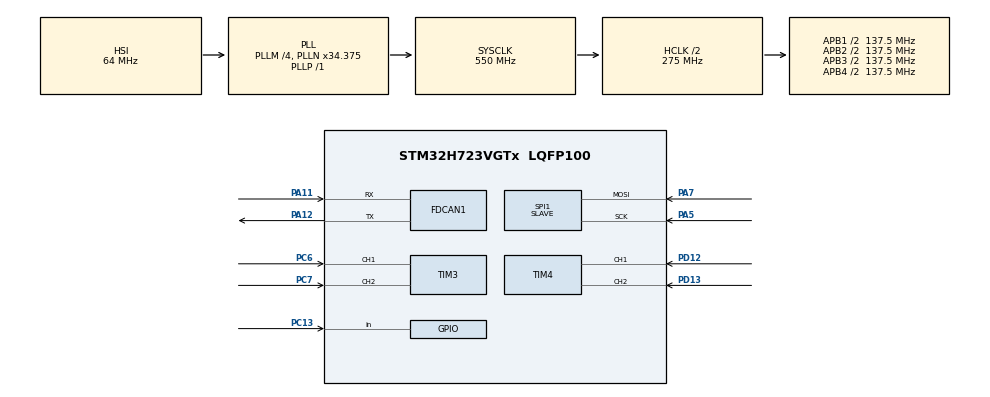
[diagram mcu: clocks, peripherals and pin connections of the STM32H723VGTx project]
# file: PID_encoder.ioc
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CORTEX_M7.default_mode_Activation=1
FDCAN1.CalculateBaudRateNominal=1000000
FDCAN1.CalculateTimeBitNominal=1000
FDCAN1.CalculateTimeQuantumNominal=250.0
FDCAN1.NominalPrescaler=5
FDCAN1.NominalTimeSeg1=1
FDCAN1.NominalTimeSeg2=2
FDCAN1.TransmitPause=ENABLE
FDCAN1.TxFifoQueueElmtsNbr=1
Mcu.Family=STM32H7
Mcu.Name=STM32H723VGTx
Mcu.Package=LQFP100
NVIC.FDCAN1_IT0_IRQn=true\:0\:0\:false\:false\:true\:true\:true\:true
NVIC.PriorityGroup=NVIC_PRIORITYGROUP_4
NVIC.SPI1_IRQn=true\:0\:0\:false\:false\:true\:true\:true\:true
NVIC.TIM7_IRQn=true\:0\:0\:false\:false\:true\:true\:true\:true
NVIC.TIM8_BRK_TIM12_IRQn=true\:0\:0\:false\:false\:true\:true\:true\:true
NVIC.TIM8_CC_IRQn=true\:0\:0\:false\:false\:true\:true\:true\:true
NVIC.TIM8_TRG_COM_TIM14_IRQn=true\:0\:0\:false\:false\:true\:true\:true\:true
NVIC.TIM8_UP_TIM13_IRQn=true\:0\:0\:false\:false\:true\:true\:true\:true
PA11.Mode=FDCAN_Activate
PA11.Signal=FDCAN1_RX
PA12.Mode=FDCAN_Activate
PA12.Signal=FDCAN1_TX
PA5.Mode=RX_Only_Simplex_Unidirect_Slave
PA5.Signal=SPI1_SCK
PA7.Mode=RX_Only_Simplex_Unidirect_Slave
PA7.Signal=SPI1_MOSI
PC13.Signal=GPIO_Input
PC6.Signal=S_TIM3_CH1
PC7.Signal=S_TIM3_CH2
PD12.Signal=S_TIM4_CH1
PD13.Signal=S_TIM4_CH2
PH0-OSC_IN.Mode=HSE-External-Oscillator
PH0-OSC_IN.Signal=RCC_OSC_IN
PH1-OSC_OUT.Mode=HSE-External-Oscillator
PH1-OSC_OUT.Signal=RCC_OSC_OUT
ProjectManager.HeapSize=0x200
ProjectManager.StackSize=0x400
ProjectManager.TargetToolchain=STM32CubeIDE
RCC.ADCFreq_Value=129000000
RCC.APB1Freq_Value=137500000
RCC.APB2Freq_Value=137500000
RCC.APB3Freq_Value=137500000
RCC.APB4Freq_Value=137500000
RCC.CortexFreq_Value=550000000
RCC.D1PPRE=RCC_APB3_DIV2
RCC.D2PPRE1=RCC_APB1_DIV2
RCC.D2PPRE2=RCC_APB2_DIV2
RCC.D3PPRE=RCC_APB4_DIV2
RCC.DIVM1=4
RCC.DIVN1=34
RCC.DIVP1=1
RCC.DIVQ1=4
RCC.FDCANCLockSelection=RCC_FDCANCLKSOURCE_HSE
RCC.HCLKFreq_Value=275000000
RCC.HPRE=RCC_HCLK_DIV2
RCC.HSE_VALUE=20000000
RCC.PLL2FRACN=0
RCC.PLL3FRACN=0
RCC.PLLFRACN=3072
RCC.SYSCLKFreq_VALUE=550000000
RCC.SYSCLKSource=RCC_SYSCLKSOURCE_PLLCLK
RCC.USBFreq_Value=137500000
SH.S_TIM3_CH1.0=TIM3_CH1,Encoder_Interface
SH.S_TIM3_CH2.0=TIM3_CH2,Encoder_Interface
SH.S_TIM4_CH1.0=TIM4_CH1,Encoder_Interface
SH.S_TIM4_CH2.0=TIM4_CH2,Encoder_Interface
SPI1.DataSize=SPI_DATASIZE_8BIT
SPI1.Direction=SPI_DIRECTION_2LINES_RXONLY
SPI1.Mode=SPI_MODE_SLAVE
SPI1.VirtualType=VM_SLAVE
TIM3.EncoderMode=TIM_ENCODERMODE_TI12
TIM4.EncoderMode=TIM_ENCODERMODE_TI12
TIM7.Period=5000-1
TIM7.Prescaler=550-1
TIM8.Period=5000-1
TIM8.Prescaler=550-1
VP_MEMORYMAP_VS_MEMORYMAP.Mode=CurAppReg
VP_TIM7_VS_ClockSourceINT.Mode=Enable_Timer
VP_TIM8_VS_ClockSourceINT.Mode=Internal
board=custom

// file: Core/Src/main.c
/* USER CODE BEGIN Header */
/**
  ******************************************************************************
  * @file           : main.c
  * @brief          : Main program body
  ******************************************************************************
  * @attention
  *
  * Copyright (c) 2025 STMicroelectronics.
  * All rights reserved.
  *
  * This software is licensed under terms that can be found in the LICENSE file
  * in the root directory of this software component.
  * If no LICENSE file comes with this software, it is provided AS-IS.
  *
  ******************************************************************************
  */
/* USER CODE END Header */
#include "main.h"

/* USER CODE BEGIN Includes */
#include "math.h"
#include "kinematic.h"
#include "string.h"
#include "x5_lite.h"
#include <stdlib.h>
/* USER CODE END Includes */

/* USER CODE BEGIN PTD */
//
typedef struct{
	int8_t FL;
	int8_t FR;
	int8_t RL;
	int8_t RR;
}Dwheel;
//robot pose
typedef struct{
	float x;
	float y;
	float theta;
}target_t;
target_t target;
//PID class
typedef struct {
  float kp;
  float ki;
  float kd;
  float prev_err;
  float integral;
  float out_limit;
} PID_t;

float ex,ey,eth;
int8_t rx ,ry,lx,ly;

/* USER CODE END PTD */

/* USER CODE BEGIN PD */

//redus of odom wheel
#define WHEEL 70
/* USER CODE END PD */

/* USER CODE BEGIN PM */
OMNIWHEEL omni;
CONTROLLER controller;

float wheel_speed[4]={0};
float wheel_speedT[4]={0};
float vx =0.0f, vy=0.0f, omega=0.0f;
float x =0.0f, y =0.0f, theta =0.0f;

float kp_x = 0.0f,kp_y=0.0f,ki_x=0.0f,ki_y=0.0f,kd_x=0.0f,kd_y=0.0f;
FDCAN_TxHeaderTypeDef txHeader;
int8_t can_tx[8]={0};
uint8_t button =0;

float vx_js=0,vy_js =0, w_js=0;
int8_t  a= 0, B=0, c=0;

/* USER CODE END PM */

FDCAN_HandleTypeDef hfdcan1;

SPI_HandleTypeDef hspi1;

TIM_HandleTypeDef htim3;
TIM_HandleTypeDef htim4;
TIM_HandleTypeDef htim7;
TIM_HandleTypeDef htim8;

/* USER CODE BEGIN PV */

volatile uint16_t theta16X=0,theta16_1X=0;
volatile int theta32bitX=0,theta32bit_1X=0;
volatile uint16_t theta16Y=0,theta16_1Y=0;
volatile int theta32bitY=0,theta32bit_1Y=0;
volatile int pulseX=0, pulseY=0;
float distantX=0.0f, distant_per1CX=0.0f;
float wheelCircuim = 0.0f;
float distantY=0.0f, distant_per1CY=0.0f;
int countSPI =0;
/* USER CODE END PV */

void SystemClock_Config(void);
static void MPU_Config(void);
static void MX_GPIO_Init(void);
static void MX_FDCAN1_Init(void);
static void MX_TIM3_Init(void);
static void MX_TIM4_Init(void);
static void MX_TIM7_Init(void);
static void MX_TIM8_Init(void);
static void MX_SPI1_Init(void);

/* USER CODE BEGIN 0 */
void HAL_SPI_RxCpltCallback(SPI_HandleTypeDef *hspi)
{
    X5_SPI_RxCpltCallback(hspi);
    countSPI++;
}

void convertTo32bitX() {
  theta16X = TIM4->CNT;  // Read current 16-bit timer value
  int32_t DeltaX = (int16_t)(theta16X - theta16_1X);  // Handle wrap-around correctly
  if (DeltaX > 30000) {  // Overflow detected
      theta32bitX += 65536;
    }
    else if (DeltaX < -30000) {  // Underflow detected
    theta32bitX -= 65536;
    }
  // Update 32-bit position
  theta32bitX += DeltaX;
  theta16_1X = theta16X;  // Store previous value for next iteration
  wheelCircuim = WHEEL * M_PI;
  pulseX = theta32bitX/4;
  distant_per1CX = wheelCircuim/(360);// 0.1527163095    1440/0.219453335
  distantX = -(pulseX) * (distant_per1CX * 0.001);
  //errorX_per=(errorX/DESIRED)*100;
  //0.0001527163
  }

void convertTo32bitY() {
  theta16Y = TIM3->CNT;  // Read current 16-bit timer value
  int32_t DeltaY = (int16_t)(theta16Y - theta16_1Y);  // Handle wrap-around correctly
  if (DeltaY > 30000) {  // Overflow detected
      theta32bitY += 65536;
    }
    else if (DeltaY < -30000) {  // Underflow detected
    theta32bitY -= 65536;
    }
  // Update 32-bit position
  theta32bitY += DeltaY;
  theta16_1Y = theta16Y;  // Store previous value for next iteration
  pulseY = theta32bitY/4;
  distant_per1CY = wheelCircuim/(360);
  distantY = (pulseY) * (distant_per1CY * 0.001);
  //errorY_per=(errorY/DESIRED)*100;
}
float PID_Update( float kp,float ki ,float kd,float err, float dt)
{
  float integral=0.0f;
  integral += err * dt;
  // Anti-windup
  if (integral > 2.0f)  integral = 2.0f;
  if (integral < -2.0f) integral = -2.0f;

  float prev_err =0.0f;

  float derivative =0.0f;
  derivative = (err - prev_err) / dt;
  prev_err    = err;

  float out = kp * err
            + ki * integral
            + kd * derivative;
  // Output limit
  if (out > 2.0f)  out = 2.0f;
  if (out < -2.0f) out = -2.0f;

  return out;
}
void update_odom(){
	convertTo32bitX();
	convertTo32bitY();
}
void control(float *vx, float *vy, float *omega){
	 ex = target.x -  distantX;
	 ey = target.y - distantY ;

	float dt = 0.05f;
	if(abs(ex)< 0.001) ex =0.0;
	if(abs(ey)< 0.001) ey =0.0;
	*vx    = PID_Update( kp_x,ki_x,kd_x,ex, dt);
	*vy    = PID_Update( kp_y,ki_y,kd_y,ey, dt);

    if (*vx > 1.5f) *vx = 1.5f;
    if (*vy > 1.5f) *vy = 1.5f;

}
void can_data_send(void){
	Dwheel can ={
		.FL =(int8_t)(wheel_speedT[0]/6),
		.RL =(int8_t)(wheel_speedT[1]/6),
		.FR =(int8_t)(wheel_speedT[2]/6),
		.RR =(int8_t)(wheel_speedT[3]/6),
	};
	memcpy(can_tx, &can, sizeof(Dwheel));
	txHeader.Identifier = 0x001;
	txHeader.IdType = FDCAN_STANDARD_ID;
	txHeader.TxFrameType = FDCAN_DATA_FRAME;
	txHeader.DataLength = FDCAN_DLC_BYTES_8;
	txHeader.ErrorStateIndicator = FDCAN_ESI_ACTIVE;
	txHeader.BitRateSwitch = FDCAN_BRS_OFF;  // TJA1050
	txHeader.FDFormat = FDCAN_CLASSIC_CAN;
	txHeader.TxEventFifoControl = FDCAN_NO_TX_EVENTS;
	txHeader.MessageMarker = 0;
	HAL_FDCAN_AddMessageToTxFifoQ(&hfdcan1, &txHeader, can_tx);}
void HAL_TIM_PeriodElapsedCallback(TIM_HandleTypeDef *htim)
{
	if (htim->Instance == TIM7)
	{
	 //control(&vx ,&vy, &omega);
     X5_Joy(&rx,&ry,&lx,&ly);

		 a = (lx);
		 B = (ly );
		 c = -(rx );

		 if (countSPI >0){

		 vx_js =a/50.f;
		 vy_js =B/50.0f;
		 w_js = c /50.0f;
 		float alpha =0.0f;
		controller.vx    = alpha * vx + (1.0f - alpha) * vx_js;
		controller.vy    = alpha * vy + (1.0f - alpha) * vy_js;
		controller.omega = alpha * omega  + (1.0f - alpha) * w_js;

		omni45_kinematic(&controller , &omni,wheel_speedT);
		can_data_send();
	}}
	if(htim->Instance == TIM8){
     	update_odom();
     	X5_UpdateButtons();

     	if (Meihua.start_b){
     		//state1
     	target_t Dise_pose={
     		  	.x = 0,
     		  	.y =0,
     		  	.theta =0
     		  };
     		  	target = Dise_pose;
     	}
     	else if(Meihua.retry_b){
     		//state2

     	}
     	else if(Meihua.b0){
     		//state3
     	}
     	else if(Meihua.b1){
     		//
     	}
     	else if(Meihua.b2){
     	     //state3
       	}
     	else if(Meihua.b3){

     	}
     	else if(Meihua.b4){
     	     //state3
     	}
     	else if(Meihua.b5){

     	}
     	else if(Meihua.b6){
     	     //state3
     	}
     	else if(Meihua.b7){

     	}
     	else if(Meihua.b8){
     	     //state3
     	}
     	else if(Meihua.b9){

     	}
     	else if(Meihua.b10){
     	     //state3
     	}
     	else if(Meihua.b11){

     	}
     	else if(x5_button.a){

     	}
     	else{

     	}

	}
}

/* USER CODE END 0 */

int main(void)
{

  /* MPU Configuration--------------------------------------------------------*/

	MPU_Config();

  /* MCU Configuration--------------------------------------------------------*/

  /* Reset of all peripherals, Initializes the Flash interface and the Systick. */
  HAL_Init();

  /* Configure the system clock */
  SystemClock_Config();

  /* Initialize all configured peripherals */
  MX_GPIO_Init();
  MX_FDCAN1_Init();
  MX_TIM3_Init();
  MX_TIM4_Init();
  MX_TIM7_Init();
  MX_TIM8_Init();
  MX_SPI1_Init();
  /* USER CODE BEGIN 2 */
  omni_init(&omni);
  X5_Init(&hspi1);
  HAL_FDCAN_Start(&hfdcan1);

  HAL_TIM_Encoder_Start(&htim3, TIM_CHANNEL_ALL);
  HAL_TIM_Encoder_Start(&htim4, TIM_CHANNEL_ALL);
  HAL_TIM_Base_Start_IT(&htim7);
  HAL_TIM_Base_Start_IT(&htim8);

  /* USER CODE END 2 */

  /* Infinite loop */
  while (1)
  {

  }
}

void SystemClock_Config(void)
{
  RCC_OscInitTypeDef RCC_OscInitStruct = {0};
  RCC_ClkInitTypeDef RCC_ClkInitStruct = {0};

  /** Supply configuration update enable
  */
  HAL_PWREx_ConfigSupply(PWR_LDO_SUPPLY);

  /** Configure the main internal regulator output voltage
  */
  __HAL_PWR_VOLTAGESCALING_CONFIG(PWR_REGULATOR_VOLTAGE_SCALE0);

  while(!__HAL_PWR_GET_FLAG(PWR_FLAG_VOSRDY)) {}

  /** Initializes the RCC Oscillators according to the specified parameters
  * in the RCC_OscInitTypeDef structure.
  */
  RCC_OscInitStruct.OscillatorType = RCC_OSCILLATORTYPE_HSI|RCC_OSCILLATORTYPE_HSE;
  RCC_OscInitStruct.HSEState = RCC_HSE_ON;
  RCC_OscInitStruct.HSIState = RCC_HSI_DIV1;
  RCC_OscInitStruct.HSICalibrationValue = 64;
  RCC_OscInitStruct.PLL.PLLState = RCC_PLL_ON;
  RCC_OscInitStruct.PLL.PLLSource = RCC_PLLSOURCE_HSI;
  RCC_OscInitStruct.PLL.PLLM = 4;
  RCC_OscInitStruct.PLL.PLLN = 34;
  RCC_OscInitStruct.PLL.PLLP = 1;
  RCC_OscInitStruct.PLL.PLLQ = 4;
  RCC_OscInitStruct.PLL.PLLR = 2;
  RCC_OscInitStruct.PLL.PLLRGE = RCC_PLL1VCIRANGE_3;
  RCC_OscInitStruct.PLL.PLLVCOSEL = RCC_PLL1VCOWIDE;
  RCC_OscInitStruct.PLL.PLLFRACN = 3072;
  if (HAL_RCC_OscConfig(&RCC_OscInitStruct) != HAL_OK)
  {
    Error_Handler();
  }

  /** Initializes the CPU, AHB and APB buses clocks
  */
  RCC_ClkInitStruct.ClockType = RCC_CLOCKTYPE_HCLK|RCC_CLOCKTYPE_SYSCLK
                              |RCC_CLOCKTYPE_PCLK1|RCC_CLOCKTYPE_PCLK2
                              |RCC_CLOCKTYPE_D3PCLK1|RCC_CLOCKTYPE_D1PCLK1;
  RCC_ClkInitStruct.SYSCLKSource = RCC_SYSCLKSOURCE_PLLCLK;
  RCC_ClkInitStruct.SYSCLKDivider = RCC_SYSCLK_DIV1;
  RCC_ClkInitStruct.AHBCLKDivider = RCC_HCLK_DIV2;
  RCC_ClkInitStruct.APB3CLKDivider = RCC_APB3_DIV2;
  RCC_ClkInitStruct.APB1CLKDivider = RCC_APB1_DIV2;
  RCC_ClkInitStruct.APB2CLKDivider = RCC_APB2_DIV2;
  RCC_ClkInitStruct.APB4CLKDivider = RCC_APB4_DIV2;

  if (HAL_RCC_ClockConfig(&RCC_ClkInitStruct, FLASH_LATENCY_3) != HAL_OK)
  {
    Error_Handler();
  }
}

static void MX_FDCAN1_Init(void)
{

  hfdcan1.Instance = FDCAN1;
  hfdcan1.Init.FrameFormat = FDCAN_FRAME_CLASSIC;
  hfdcan1.Init.Mode = FDCAN_MODE_NORMAL;
  hfdcan1.Init.AutoRetransmission = DISABLE;
  hfdcan1.Init.TransmitPause = ENABLE;
  hfdcan1.Init.ProtocolException = DISABLE;
  hfdcan1.Init.NominalPrescaler = 5;
  hfdcan1.Init.NominalSyncJumpWidth = 1;
  hfdcan1.Init.NominalTimeSeg1 = 1;
  hfdcan1.Init.NominalTimeSeg2 = 2;
  hfdcan1.Init.DataPrescaler = 1;
  hfdcan1.Init.DataSyncJumpWidth = 1;
  hfdcan1.Init.DataTimeSeg1 = 1;
  hfdcan1.Init.DataTimeSeg2 = 1;
  hfdcan1.Init.MessageRAMOffset = 0;
  hfdcan1.Init.StdFiltersNbr = 0;
  hfdcan1.Init.ExtFiltersNbr = 0;
  hfdcan1.Init.RxFifo0ElmtsNbr = 0;
  hfdcan1.Init.RxFifo0ElmtSize = FDCAN_DATA_BYTES_8;
  hfdcan1.Init.RxFifo1ElmtsNbr = 0;
  hfdcan1.Init.RxFifo1ElmtSize = FDCAN_DATA_BYTES_8;
  hfdcan1.Init.RxBuffersNbr = 0;
  hfdcan1.Init.RxBufferSize = FDCAN_DATA_BYTES_8;
  hfdcan1.Init.TxEventsNbr = 0;
  hfdcan1.Init.TxBuffersNbr = 0;
  hfdcan1.Init.TxFifoQueueElmtsNbr = 1;
  hfdcan1.Init.TxFifoQueueMode = FDCAN_TX_FIFO_OPERATION;
  hfdcan1.Init.TxElmtSize = FDCAN_DATA_BYTES_8;
  if (HAL_FDCAN_Init(&hfdcan1) != HAL_OK)
  {
    Error_Handler();
  }
  /* USER CODE BEGIN FDCAN1_Init 2 */
  // Accept-all filter
      FDCAN_FilterTypeDef filter;
      filter.IdType = FDCAN_STANDARD_ID;
      filter.FilterIndex = 0;
      filter.FilterType = FDCAN_FILTER_MASK;
      filter.FilterConfig = FDCAN_FILTER_TO_RXFIFO0;
      filter.FilterID1 = 0x000;
      filter.FilterID2 = 0x000;
      HAL_FDCAN_ConfigFilter(&hfdcan1, &filter);

  /* USER CODE END FDCAN1_Init 2 */

}

static void MX_SPI1_Init(void)
{

  /* SPI1 parameter configuration*/
  hspi1.Instance = SPI1;
  hspi1.Init.Mode = SPI_MODE_SLAVE;
  hspi1.Init.Direction = SPI_DIRECTION_2LINES_RXONLY;
  hspi1.Init.DataSize = SPI_DATASIZE_8BIT;
  hspi1.Init.CLKPolarity = SPI_POLARITY_LOW;
  hspi1.Init.CLKPhase = SPI_PHASE_1EDGE;
  hspi1.Init.NSS = SPI_NSS_SOFT;
  hspi1.Init.FirstBit = SPI_FIRSTBIT_MSB;
  hspi1.Init.TIMode = SPI_TIMODE_DISABLE;
  hspi1.Init.CRCCalculation = SPI_CRCCALCULATION_DISABLE;
  hspi1.Init.CRCPolynomial = 0x0;
  hspi1.Init.NSSPMode = SPI_NSS_PULSE_DISABLE;
  hspi1.Init.NSSPolarity = SPI_NSS_POLARITY_LOW;
  hspi1.Init.FifoThreshold = SPI_FIFO_THRESHOLD_01DATA;
  hspi1.Init.TxCRCInitializationPattern = SPI_CRC_INITIALIZATION_ALL_ZERO_PATTERN;
  hspi1.Init.RxCRCInitializationPattern = SPI_CRC_INITIALIZATION_ALL_ZERO_PATTERN;
  hspi1.Init.MasterSSIdleness = SPI_MASTER_SS_IDLENESS_00CYCLE;
  hspi1.Init.MasterInterDataIdleness = SPI_MASTER_INTERDATA_IDLENESS_00CYCLE;
  hspi1.Init.MasterReceiverAutoSusp = SPI_MASTER_RX_AUTOSUSP_DISABLE;
  hspi1.Init.MasterKeepIOState = SPI_MASTER_KEEP_IO_STATE_DISABLE;
  hspi1.Init.IOSwap = SPI_IO_SWAP_DISABLE;
  if (HAL_SPI_Init(&hspi1) != HAL_OK)
  {
    Error_Handler();
  }

}

static void MX_TIM3_Init(void)
{

  TIM_Encoder_InitTypeDef sConfig = {0};
  TIM_MasterConfigTypeDef sMasterConfig = {0};

  htim3.Instance = TIM3;
  htim3.Init.Prescaler = 0;
  htim3.Init.CounterMode = TIM_COUNTERMODE_UP;
  htim3.Init.Period = 65535;
  htim3.Init.ClockDivision = TIM_CLOCKDIVISION_DIV1;
  htim3.Init.AutoReloadPreload = TIM_AUTORELOAD_PRELOAD_DISABLE;
  sConfig.EncoderMode = TIM_ENCODERMODE_TI12;
  sConfig.IC1Polarity = TIM_ICPOLARITY_RISING;
  sConfig.IC1Selection = TIM_ICSELECTION_DIRECTTI;
  sConfig.IC1Prescaler = TIM_ICPSC_DIV1;
  sConfig.IC1Filter = 0;
  sConfig.IC2Polarity = TIM_ICPOLARITY_RISING;
  sConfig.IC2Selection = TIM_ICSELECTION_DIRECTTI;
  sConfig.IC2Prescaler = TIM_ICPSC_DIV1;
  sConfig.IC2Filter = 0;
  if (HAL_TIM_Encoder_Init(&htim3, &sConfig) != HAL_OK)
  {
    Error_Handler();
  }
  sMasterConfig.MasterOutputTrigger = TIM_TRGO_RESET;
  sMasterConfig.MasterSlaveMode = TIM_MASTERSLAVEMODE_DISABLE;
  if (HAL_TIMEx_MasterConfigSynchronization(&htim3, &sMasterConfig) != HAL_OK)
  {
    Error_Handler();
  }

}

static void MX_TIM4_Init(void)
{

  TIM_Encoder_InitTypeDef sConfig = {0};
  TIM_MasterConfigTypeDef sMasterConfig = {0};

  htim4.Instance = TIM4;
  htim4.Init.Prescaler = 0;
  htim4.Init.CounterMode = TIM_COUNTERMODE_UP;
  htim4.Init.Period = 65535;
  htim4.Init.ClockDivision = TIM_CLOCKDIVISION_DIV1;
  htim4.Init.AutoReloadPreload = TIM_AUTORELOAD_PRELOAD_DISABLE;
  sConfig.EncoderMode = TIM_ENCODERMODE_TI12;
  sConfig.IC1Polarity = TIM_ICPOLARITY_RISING;
  sConfig.IC1Selection = TIM_ICSELECTION_DIRECTTI;
  sConfig.IC1Prescaler = TIM_ICPSC_DIV1;
  sConfig.IC1Filter = 0;
  sConfig.IC2Polarity = TIM_ICPOLARITY_RISING;
  sConfig.IC2Selection = TIM_ICSELECTION_DIRECTTI;
  sConfig.IC2Prescaler = TIM_ICPSC_DIV1;
  sConfig.IC2Filter = 0;
  if (HAL_TIM_Encoder_Init(&htim4, &sConfig) != HAL_OK)
  {
    Error_Handler();
  }
  sMasterConfig.MasterOutputTrigger = TIM_TRGO_RESET;
  sMasterConfig.MasterSlaveMode = TIM_MASTERSLAVEMODE_DISABLE;
  if (HAL_TIMEx_MasterConfigSynchronization(&htim4, &sMasterConfig) != HAL_OK)
  {
    Error_Handler();
  }

}

static void MX_TIM7_Init(void)
{

  TIM_MasterConfigTypeDef sMasterConfig = {0};

  htim7.Instance = TIM7;
  htim7.Init.Prescaler = 550-1;
  htim7.Init.CounterMode = TIM_COUNTERMODE_UP;
  htim7.Init.Period = 5000-1;
  htim7.Init.AutoReloadPreload = TIM_AUTORELOAD_PRELOAD_DISABLE;
  if (HAL_TIM_Base_Init(&htim7) != HAL_OK)
  {
    Error_Handler();
  }
  sMasterConfig.MasterOutputTrigger = TIM_TRGO_RESET;
  sMasterConfig.MasterSlaveMode = TIM_MASTERSLAVEMODE_DISABLE;
  if (HAL_TIMEx_MasterConfigSynchronization(&htim7, &sMasterConfig) != HAL_OK)
  {
    Error_Handler();
  }

}

static void MX_TIM8_Init(void)
{

  TIM_ClockConfigTypeDef sClockSourceConfig = {0};
  TIM_MasterConfigTypeDef sMasterConfig = {0};

  htim8.Instance = TIM8;
  htim8.Init.Prescaler = 550-1;
  htim8.Init.CounterMode = TIM_COUNTERMODE_UP;
  htim8.Init.Period = 5000-1;
  htim8.Init.ClockDivision = TIM_CLOCKDIVISION_DIV1;
  htim8.Init.RepetitionCounter = 0;
  htim8.Init.AutoReloadPreload = TIM_AUTORELOAD_PRELOAD_DISABLE;
  if (HAL_TIM_Base_Init(&htim8) != HAL_OK)
  {
    Error_Handler();
  }
  sClockSourceConfig.ClockSource = TIM_CLOCKSOURCE_INTERNAL;
  if (HAL_TIM_ConfigClockSource(&htim8, &sClockSourceConfig) != HAL_OK)
  {
    Error_Handler();
  }
  sMasterConfig.MasterOutputTrigger = TIM_TRGO_RESET;
  sMasterConfig.MasterOutputTrigger2 = TIM_TRGO2_RESET;
  sMasterConfig.MasterSlaveMode = TIM_MASTERSLAVEMODE_DISABLE;
  if (HAL_TIMEx_MasterConfigSynchronization(&htim8, &sMasterConfig) != HAL_OK)
  {
    Error_Handler();
  }

}

static void MX_GPIO_Init(void)
{
  GPIO_InitTypeDef GPIO_InitStruct = {0};

  /* GPIO Ports Clock Enable */
  __HAL_RCC_GPIOC_CLK_ENABLE();
  __HAL_RCC_GPIOH_CLK_ENABLE();
  __HAL_RCC_GPIOA_CLK_ENABLE();
  __HAL_RCC_GPIOD_CLK_ENABLE();

  /*Configure GPIO pin : PC13 */
  GPIO_InitStruct.Pin = GPIO_PIN_13;
  GPIO_InitStruct.Mode = GPIO_MODE_INPUT;
  GPIO_InitStruct.Pull = GPIO_NOPULL;
  HAL_GPIO_Init(GPIOC, &GPIO_InitStruct);

}

 /* MPU Configuration */

void MPU_Config(void)
{
  MPU_Region_InitTypeDef MPU_InitStruct = {0};

  /* Disables the MPU */
  HAL_MPU_Disable();

  /** Initializes and configures the Region and the memory to be protected
  */
  MPU_InitStruct.Enable = MPU_REGION_ENABLE;
  MPU_InitStruct.Number = MPU_REGION_NUMBER0;
  MPU_InitStruct.BaseAddress = 0x0;
  MPU_InitStruct.Size = MPU_REGION_SIZE_4GB;
  MPU_InitStruct.SubRegionDisable = 0x87;
  MPU_InitStruct.TypeExtField = MPU_TEX_LEVEL0;
  MPU_InitStruct.AccessPermission = MPU_REGION_NO_ACCESS;
  MPU_InitStruct.DisableExec = MPU_INSTRUCTION_ACCESS_DISABLE;
  MPU_InitStruct.IsShareable = MPU_ACCESS_SHAREABLE;
  MPU_InitStruct.IsCacheable = MPU_ACCESS_NOT_CACHEABLE;
  MPU_InitStruct.IsBufferable = MPU_ACCESS_NOT_BUFFERABLE;

  HAL_MPU_ConfigRegion(&MPU_InitStruct);
  /* Enables the MPU */
  HAL_MPU_Enable(MPU_PRIVILEGED_DEFAULT);

}

void Error_Handler(void)
{
  __disable_irq();
  while (1)
  {
  }
}
